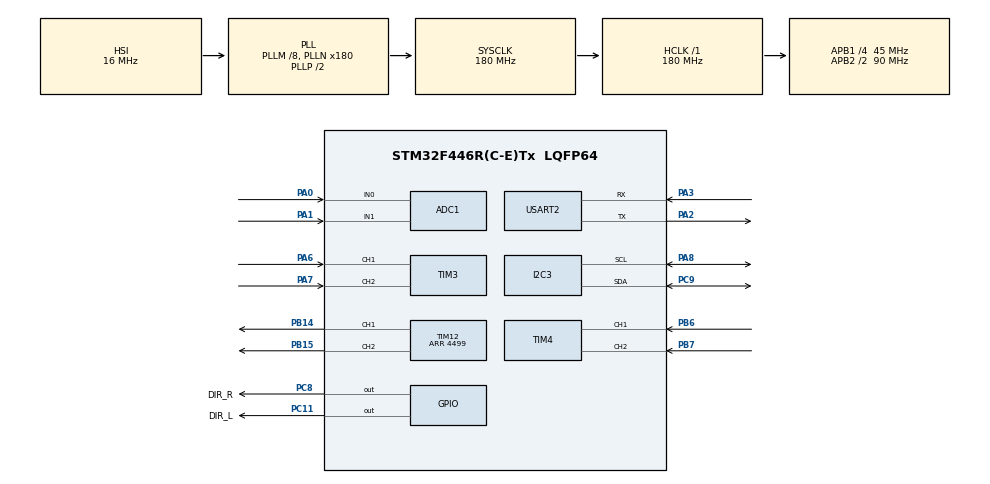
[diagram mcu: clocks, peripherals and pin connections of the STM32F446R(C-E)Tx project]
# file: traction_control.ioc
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ADC1.Channel-0\#ChannelRegularConversion=ADC_CHANNEL_1
ADC1.Channel-1\#ChannelRegularConversion=ADC_CHANNEL_0
ADC1.ContinuousConvMode=ENABLE
ADC1.DMAContinuousRequests=ENABLE
ADC1.EOCSelection=ADC_EOC_SEQ_CONV
ADC1.EnableAnalogWatchDog=false
ADC1.ExternalTrigConv=ADC_SOFTWARE_START
ADC1.NbrOfConversion=2
ADC1.NbrOfConversionFlag=1
ADC1.Rank-0\#ChannelRegularConversion=1
ADC1.Rank-1\#ChannelRegularConversion=2
ADC1.SamplingTime-0\#ChannelRegularConversion=ADC_SAMPLETIME_84CYCLES
ADC1.SamplingTime-1\#ChannelRegularConversion=ADC_SAMPLETIME_84CYCLES
ADC1.master=1
Dma.ADC1.0.Direction=DMA_PERIPH_TO_MEMORY
Dma.ADC1.0.FIFOMode=DMA_FIFOMODE_DISABLE
Dma.ADC1.0.Instance=DMA2_Stream0
Dma.ADC1.0.MemDataAlignment=DMA_MDATAALIGN_HALFWORD
Dma.ADC1.0.MemInc=DMA_MINC_ENABLE
Dma.ADC1.0.Mode=DMA_CIRCULAR
Dma.ADC1.0.PeriphDataAlignment=DMA_PDATAALIGN_HALFWORD
Dma.ADC1.0.PeriphInc=DMA_PINC_DISABLE
Dma.ADC1.0.Priority=DMA_PRIORITY_LOW
Dma.I2C3_RX.1.Direction=DMA_PERIPH_TO_MEMORY
Dma.I2C3_RX.1.FIFOMode=DMA_FIFOMODE_DISABLE
Dma.I2C3_RX.1.Instance=DMA1_Stream1
Dma.I2C3_RX.1.MemDataAlignment=DMA_MDATAALIGN_BYTE
Dma.I2C3_RX.1.MemInc=DMA_MINC_ENABLE
Dma.I2C3_RX.1.Mode=DMA_NORMAL
Dma.I2C3_RX.1.PeriphDataAlignment=DMA_PDATAALIGN_BYTE
Dma.I2C3_RX.1.PeriphInc=DMA_PINC_DISABLE
Dma.I2C3_RX.1.Priority=DMA_PRIORITY_LOW
Dma.Request0=ADC1
Dma.Request1=I2C3_RX
I2C3.I2C_Mode=I2C_Fast
Mcu.Family=STM32F4
Mcu.Name=STM32F446R(C-E)Tx
Mcu.Package=LQFP64
NVIC.DMA1_Stream1_IRQn=true\:1\:0\:true\:false\:true\:true\:true\:true
NVIC.DMA2_Stream0_IRQn=true\:0\:0\:true\:false\:true\:true\:true\:true
NVIC.I2C3_ER_IRQn=true\:1\:0\:true\:false\:true\:true\:true\:true
NVIC.I2C3_EV_IRQn=true\:1\:0\:true\:false\:true\:true\:true\:true
NVIC.PriorityGroup=NVIC_PRIORITYGROUP_4
NVIC.TIM5_IRQn=true\:0\:0\:false\:false\:true\:true\:true\:true
NVIC.TIM6_DAC_IRQn=true\:1\:0\:true\:false\:true\:true\:true\:true
NVIC.USART2_IRQn=true\:3\:0\:true\:false\:true\:true\:true\:true
PA0-WKUP.Signal=ADCx_IN0
PA1.Signal=ADCx_IN1
PA13.Mode=Trace_Asynchronous_SW
PA13.Signal=SYS_JTMS-SWDIO
PA14.Mode=Trace_Asynchronous_SW
PA14.Signal=SYS_JTCK-SWCLK
PA2.Mode=Asynchronous
PA2.Signal=USART2_TX
PA3.Mode=Asynchronous
PA3.Signal=USART2_RX
PA6.Signal=S_TIM3_CH1
PA7.Signal=S_TIM3_CH2
PA8.GPIO_Pu=GPIO_PULLUP
PA8.Mode=I2C
PA8.Signal=I2C3_SCL
PB14.Signal=S_TIM12_CH1
PB15.Signal=S_TIM12_CH2
PB3.Mode=Trace_Asynchronous_SW
PB3.Signal=SYS_JTDO-SWO
PB6.Signal=S_TIM4_CH1
PB7.Signal=S_TIM4_CH2
PC11.GPIO_Label=DIR_L
PC11.GPIO_Speed=GPIO_SPEED_FREQ_LOW
PC11.Signal=GPIO_Output
PC8.GPIO_Label=DIR_R
PC8.GPIO_Speed=GPIO_SPEED_FREQ_LOW
PC8.Signal=GPIO_Output
PC9.GPIO_Pu=GPIO_PULLUP
PC9.Mode=I2C
PC9.Signal=I2C3_SDA
ProjectManager.HeapSize=0x200
ProjectManager.StackSize=0x400
ProjectManager.TargetToolchain=STM32CubeIDE
RCC.AHBFreq_Value=180000000
RCC.APB1CLKDivider=RCC_HCLK_DIV4
RCC.APB1Freq_Value=45000000
RCC.APB1TimFreq_Value=90000000
RCC.APB2CLKDivider=RCC_HCLK_DIV2
RCC.APB2Freq_Value=90000000
RCC.APB2TimFreq_Value=180000000
RCC.CortexFreq_Value=180000000
RCC.HCLKFreq_Value=180000000
RCC.PLLM=8
RCC.PLLN=180
RCC.SYSCLKFreq_VALUE=180000000
RCC.SYSCLKSource=RCC_SYSCLKSOURCE_PLLCLK
RCC.USBFreq_Value=180000000
RCC.VCOOutputFreq_Value=360000000
SH.ADCx_IN0.0=ADC1_IN0,IN0
SH.ADCx_IN1.0=ADC1_IN1,IN1
SH.S_TIM12_CH1.0=TIM12_CH1,PWM Generation1 CH1
SH.S_TIM12_CH2.0=TIM12_CH2,PWM Generation2 CH2
SH.S_TIM3_CH1.0=TIM3_CH1,Encoder_Interface
SH.S_TIM3_CH2.0=TIM3_CH2,Encoder_Interface
SH.S_TIM4_CH1.0=TIM4_CH1,Encoder_Interface
SH.S_TIM4_CH2.0=TIM4_CH2,Encoder_Interface
TIM12.Channel-PWM\ Generation1\ CH1=TIM_CHANNEL_1
TIM12.Channel-PWM\ Generation2\ CH2=TIM_CHANNEL_2
TIM12.Period=4499
TIM3.EncoderMode=TIM_ENCODERMODE_TI12
TIM4.EncoderMode=TIM_ENCODERMODE_TI12
TIM5.Period=999
TIM5.Prescaler=89
TIM6.Period=9999
TIM6.Prescaler=89
USART2.VirtualMode=VM_ASYNC
VP_TIM12_VS_ClockSourceINT.Mode=Internal
VP_TIM5_VS_ClockSourceINT.Mode=Internal
VP_TIM6_VS_ClockSourceINT.Mode=Enable_Timer
board=custom

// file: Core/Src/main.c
/* USER CODE BEGIN Header */
/**
 ******************************************************************************
 * @file           : main.c
 * @brief          : Main program body
 * @author         : Sviluppato per architettura Hard Real-Time STM32F4
 ******************************************************************************
 */

//Ruota 2 = Sinistra
//Ruota 1 = Destra
/* USER CODE END Header */
#include "main.h"
#include "adc.h"
#include "dma.h"
#include "i2c.h"
#include "tim.h"
#include "usart.h"
#include "gpio.h"

/* USER CODE BEGIN Includes */
#include "bts7960.h"
#include "amt102.h"
#include "mpu6050.h"
#include "pi_controller.h"
#include <string.h>
#include <math.h>
#include <stdint.h>
#include <stdio.h>
/* USER CODE END Includes */

/* USER CODE BEGIN PD */
#define MOT_MAX_PWM         4499
//Configurazione Motore 1 (Destro)
#define M1_PWM_TIM           &htim12          //Timer associato a PB15
#define M1_PWM_CH            TIM_CHANNEL_2    //Canale associato a PB15

//Configurazione Motore 2 (Sinistro)
#define M2_PWM_TIM           &htim12          //Timer associato a PB14
#define M2_PWM_CH            TIM_CHANNEL_1    //Canale associato a PB14

#define ENC_PPR_X4           8192.0f
#define ENC1_TIM             &htim3
#define ENC2_TIM             &htim4

#define WHEEL_RADIUS         0.05f   //Raggio della ruota in metri
#define TRACK_WIDTH          0.40f   //Carreggiata in metri
#define SLIP_MAX             0.15f   //Slittamento massimo ammesso (15%)

//Guadagni PI Velocità (Middle Loop)
#define KP_VEL                  2.5f
#define KI_VEL                  15.0f
//Guadagni PI Corrente (Inner Loop)
#define MAX_CURRENT_LIMIT       4.0f   //Corrente massima (A)
#define KP_CURR                 0.0729f
#define KI_CURR                 697.92f
#define MAX_DUTY_CYCLE          100.0f  //Limite massimo PWM (%)
#define ADC_BUFFER_DEPTH        10

#define V_MIN_SLIP           0.1f   //Parametro per evitare singolarità (divisione per zero)
#define MAX_CURRENT_CUT      4.0f    //Taglio massimo di corrente (A) permesso al TC
#define KP_TC                2.5f
#define KI_TC                8.0f

/* USER CODE END PD */

/* USER CODE BEGIN PV */

BTS7960_Motor_t motor1;
BTS7960_Motor_t motor2;
AMT102_Encoder_t encoder1;
AMT102_Encoder_t encoder2;
mpu6050_t imu1;

//Buffer (Gestiti da DMA e Interrupt)
volatile uint8_t buffer_imu[14];
volatile uint16_t adc_buffer[ADC_BUFFER_DEPTH * 2];
volatile uint8_t rx_byte;
volatile float v_pred = 0.0f;
uint8_t payload_buffer[8];
uint8_t sync_state = 0;
uint8_t payload_idx = 0;

//Struttura Kalman filter
typedef struct {
	float v;
	float P;
	float R;
	float Q;
} Kalman_Velocity_t;

Kalman_Velocity_t kf_vel = { .v = 0.0f, .P = 1.0f, .Q = 0.005f, .R = 0.01 };

//Controllori PI
PI_Controller_t pi_vel_m1;
PI_Controller_t pi_vel_m2;
PI_Controller_t pi_curr_m1;
PI_Controller_t pi_curr_m2;
PI_Controller_t pi_tc_m1;
PI_Controller_t pi_tc_m2;

//Variabili di controllo
volatile float target_velocita_condivisa = 0.0f; //Target da UART
volatile float target_omega_condivisa = 0.0f;	//Target angolare omega da UART
volatile float target_corrente_m1 = 0.0f; //Target dal Middle Loop all'Inner Loop
volatile float target_corrente_m2 = 0.0f;
volatile float target_velocita_m1 = 0.0f;
volatile float target_velocita_m2 = 0.0f;

volatile float accel_x_condivisa = 0.0f;
volatile float accel_z_condivisa = 0.0f;
volatile float gyro_y_condivisa = 0.0f;
volatile float gyro_z_condivisa = 0.0f;

volatile float corrente_m1 = 0.0f;
volatile float corrente_m2 = 0.0f;

volatile uint8_t flag_dma_imu_pronto = 0;
volatile uint8_t flag_esegui_outer_loop = 0;
volatile uint8_t i2c_need_reset = 0;
volatile uint8_t system_safe_state = 0;          //0 = OK, 1 = AVARIA IMU
volatile uint8_t imu_timeout_counter = 0;
volatile uint8_t i2c_is_resetting = 0;
volatile float v_misurata_media = 0.0f;
volatile float duty_m1 = 0.0f;
volatile float duty_m2 = 0.0f;
volatile float err_vel_m1 = 0.0f;
volatile float err_vel_m2 = 0.0f;
volatile float err_curr_m1 = 0.0f;
volatile float err_curr_m2 = 0.0f;
volatile float sum_accel_x = 0.0f;
volatile float sum_accel_z = 0.0f;
volatile float sum_gyro_y = 0.0f;
volatile float sum_gyro_z = 0.0f;
volatile uint8_t imu_read_count = 0;
volatile float v_ruota1 = 0.0f;
volatile float v_ruota2 = 0.0f;

volatile float slip_m1 = 0.0f;
volatile float slip_m2 = 0.0f;
volatile float target_cinematico_m1 = 0.0f;
volatile float target_cinematico_m2 = 0.0f;

volatile float error_m1 = 0.0f;
volatile float error_m2 = 0.0f;

/* USER CODE END PV */

void SystemClock_Config(void);
/* USER CODE BEGIN PFP */
static uint8_t is_first_run = 1;
void CurrentSensing_Update(float *corrente_m1_out, float *corrente_m2_out);
void StateEstimation_Update(void);
void TractionControl_Apply(float v_telaio, float gyro_z, float *i_cut_m1,
		float *i_cut_m2);
void System_Enter_SafeMode(void);
/* USER CODE END PFP */

int main(void) {

	/* MCU Configuration--------------------------------------------------------*/

	/* Reset of all peripherals, Initializes the Flash interface and the Systick. */
	HAL_Init();

	/* Configure the system clock */
	SystemClock_Config();

	/* Initialize all configured peripherals */
	MX_GPIO_Init();
	MX_DMA_Init();
	MX_TIM3_Init();
	MX_TIM4_Init();
	MX_ADC1_Init();
	MX_TIM6_Init();
	MX_TIM12_Init();
	MX_I2C3_Init();
	MX_TIM5_Init();
	MX_USART2_UART_Init();
	/* USER CODE BEGIN 2 */
	//Setup motori
	motor1.htim = M1_PWM_TIM;
	motor1.pwm_channel = M1_PWM_CH;
	motor1.dir_port = DIR_L_GPIO_Port;
	motor1.dir_pin = DIR_L_Pin;
	motor1.max_pwm_value = MOT_MAX_PWM;

	motor2.htim = M2_PWM_TIM;
	motor2.pwm_channel = M2_PWM_CH;
	motor2.dir_port = DIR_R_GPIO_Port;
	motor2.dir_pin = DIR_R_Pin;
	motor2.max_pwm_value = MOT_MAX_PWM;

	BTS7960_Init(&motor1);
	BTS7960_Init(&motor2);

	//Setup encoder
	encoder1.htim = ENC1_TIM;
	encoder1.ppr_x4 = ENC_PPR_X4;
	AMT102_Init(&encoder1);

	encoder2.htim = ENC2_TIM;
	encoder2.ppr_x4 = ENC_PPR_X4;
	AMT102_Init(&encoder2);
	//Inizializzazione PI velocità
	PI_Init(&pi_vel_m1, KP_VEL, KI_VEL, 0.010f, MAX_CURRENT_LIMIT);
	PI_Init(&pi_vel_m2, KP_VEL, KI_VEL, 0.010f, MAX_CURRENT_LIMIT);

	//Inizializzazione PI corrente
	PI_Init(&pi_curr_m1, KP_CURR, KI_CURR, 0.001f, MAX_DUTY_CYCLE);
	PI_Init(&pi_curr_m2, KP_CURR, KI_CURR, 0.001f, MAX_DUTY_CYCLE);

	PI_Init(&pi_tc_m1, KP_TC, KI_TC, 0.010f, MAX_CURRENT_CUT);
	PI_Init(&pi_tc_m2, KP_TC, KI_TC, 0.010f, MAX_CURRENT_CUT);

	//Setup IMU
	if (imu_init(&imu1, &hi2c3, IMU_ADDR) != HAL_OK) {
		Error_Handler();
	}
	imu_calibrate(&imu1);

	//Avvio periferiche e DMA
	HAL_ADC_Start_DMA(&hadc1, (uint32_t*) adc_buffer, ADC_BUFFER_DEPTH * 2);
	HAL_Delay(20);
	HAL_TIM_Base_Start_IT(&htim5);
	__HAL_TIM_SET_COUNTER(&htim5, 0);

	HAL_TIM_Base_Start_IT(&htim6);
	__HAL_TIM_SET_COUNTER(&htim6, 0);

	HAL_UART_Receive_IT(&huart2, (uint8_t*) &rx_byte, 1);

	/* USER CODE END 2 */

	/* Infinite loop */
	/* USER CODE BEGIN WHILE */

	while (1) {
		//Gestione I2C
		if (i2c_need_reset == 1) {
			i2c_is_resetting = 1;
			HAL_I2C_DeInit(&hi2c3);
			MX_I2C3_Init();
			imu_init(&imu1, &hi2c3, IMU_ADDR);
			i2c_need_reset = 0;
			i2c_is_resetting = 0;
		}

		/* USER CODE END WHILE */

	}
}

void SystemClock_Config(void) {
	RCC_OscInitTypeDef RCC_OscInitStruct = { 0 };
	RCC_ClkInitTypeDef RCC_ClkInitStruct = { 0 };

	/** Configure the main internal regulator output voltage
	 */
	__HAL_RCC_PWR_CLK_ENABLE();
	__HAL_PWR_VOLTAGESCALING_CONFIG(PWR_REGULATOR_VOLTAGE_SCALE1);

	/** Initializes the RCC Oscillators according to the specified parameters
	 * in the RCC_OscInitTypeDef structure.
	 */
	RCC_OscInitStruct.OscillatorType = RCC_OSCILLATORTYPE_HSI;
	RCC_OscInitStruct.HSIState = RCC_HSI_ON;
	RCC_OscInitStruct.HSICalibrationValue = RCC_HSICALIBRATION_DEFAULT;
	RCC_OscInitStruct.PLL.PLLState = RCC_PLL_ON;
	RCC_OscInitStruct.PLL.PLLSource = RCC_PLLSOURCE_HSI;
	RCC_OscInitStruct.PLL.PLLM = 8;
	RCC_OscInitStruct.PLL.PLLN = 180;
	RCC_OscInitStruct.PLL.PLLP = RCC_PLLP_DIV2;
	RCC_OscInitStruct.PLL.PLLQ = 2;
	RCC_OscInitStruct.PLL.PLLR = 2;
	if (HAL_RCC_OscConfig(&RCC_OscInitStruct) != HAL_OK) {
		Error_Handler();
	}

	/** Activate the Over-Drive mode
	 */
	if (HAL_PWREx_EnableOverDrive() != HAL_OK) {
		Error_Handler();
	}

	/** Initializes the CPU, AHB and APB buses clocks
	 */
	RCC_ClkInitStruct.ClockType = RCC_CLOCKTYPE_HCLK | RCC_CLOCKTYPE_SYSCLK
			| RCC_CLOCKTYPE_PCLK1 | RCC_CLOCKTYPE_PCLK2;
	RCC_ClkInitStruct.SYSCLKSource = RCC_SYSCLKSOURCE_PLLCLK;
	RCC_ClkInitStruct.AHBCLKDivider = RCC_SYSCLK_DIV1;
	RCC_ClkInitStruct.APB1CLKDivider = RCC_HCLK_DIV4;
	RCC_ClkInitStruct.APB2CLKDivider = RCC_HCLK_DIV2;

	if (HAL_RCC_ClockConfig(&RCC_ClkInitStruct, FLASH_LATENCY_5) != HAL_OK) {
		Error_Handler();
	}
}

/* USER CODE BEGIN 4 */

//Callback ricezione dati UART
void HAL_UART_RxCpltCallback(UART_HandleTypeDef *huart) {
	if (huart->Instance == USART2) {
		switch (sync_state) {
		case 0: //Attesa header 1 (0xAA)
			if (rx_byte == 0xAA)
				sync_state = 1;
			break;
		case 1: //Attesa header 2 (0x55)
			if (rx_byte == 0x55) {
				sync_state = 2;
				payload_idx = 0;
			} else if (rx_byte != 0xAA) {
				sync_state = 0;
			}
			break;
		case 2: //Lettura payload (8 byte)
			payload_buffer[payload_idx++] = rx_byte;
			if (payload_idx >= 8)
				sync_state = 3;
			break;
		case 3: //Lettura checksum e validazione
		{
			uint8_t calc_chk = 0;
			for (int i = 0; i < 8; i++) {
				calc_chk ^= payload_buffer[i];
			}
			//Applica i target solo se il pacchetto è integro
			if (calc_chk == rx_byte) {
				float nuova_velocita, nuova_omega;
				memcpy(&nuova_velocita, &payload_buffer[0], 4);
				memcpy(&nuova_omega, &payload_buffer[4], 4);
				target_velocita_condivisa = nuova_velocita;
				target_omega_condivisa = nuova_omega;
			}
			sync_state = 0; //Attesa prossimo pacchetto
		}
			break;
		}
		//Riattiva l'ascolto per il byte successivo
		HAL_UART_Receive_IT(&huart2, (uint8_t*) &rx_byte, 1);
	}
}

//Callback ricezione dati I2C
void HAL_I2C_MemRxCpltCallback(I2C_HandleTypeDef *hi2c) {
	if (hi2c->Instance == I2C3) {
		int16_t raw_accel_x = (int16_t) (buffer_imu[0] << 8 | buffer_imu[1]);
		int16_t raw_accel_z = (int16_t) (buffer_imu[4] << 8 | buffer_imu[5]);
		int16_t raw_gyro_y = (int16_t) (buffer_imu[10] << 8 | buffer_imu[11]);
		int16_t raw_gyro_z = (int16_t) (buffer_imu[12] << 8 | buffer_imu[13]);
		//Conversione in m/s^2 e rad/s
		float accel_x_depurata = ((float) (raw_accel_x - imu1.imu_bias.accel_x)
				/ 16384.0f) * 9.81f;
		float accel_z_depurata = ((float) (raw_accel_z - imu1.imu_bias.accel_z)
				/ 16384.0f) * 9.81f;
		float gyro_y_depurato = ((float) (raw_gyro_y - imu1.imu_bias.gyro_y)
				/ 131.0f) * (3.14159265f / 180.0f);
		float gyro_z_depurato = ((float) (raw_gyro_z - imu1.imu_bias.gyro_z)
				/ 131.0f) * (3.14159265f / 180.0f);

		sum_accel_x += accel_x_depurata;
		sum_accel_z += accel_z_depurata;
		sum_gyro_y += gyro_y_depurato;
		sum_gyro_z += gyro_z_depurato;
		imu_read_count++;
		flag_dma_imu_pronto = 1;
	}
}

void CurrentSensing_Update(float *corrente_m1_out, float *corrente_m2_out) {
	uint32_t somma_m1 = 0;
	uint32_t somma_m2 = 0;

	for (uint16_t i = 0; i < ADC_BUFFER_DEPTH; i++) {
		somma_m1 += adc_buffer[i * 2];
		somma_m2 += adc_buffer[(i * 2) + 1];
	}

	float raw_adc_m1 = (float) somma_m1 / (float) ADC_BUFFER_DEPTH;
	float raw_adc_m2 = (float) somma_m2 / (float) ADC_BUFFER_DEPTH;

	float magnitudine_m1 = ((raw_adc_m1 / 4095.0f) * 3.3f) * 10.0f;
	float magnitudine_m2 = ((raw_adc_m2 / 4095.0f) * 3.3f) * 10.0f;

	*corrente_m1_out = (duty_m1 < 0.0f) ? -magnitudine_m1 : magnitudine_m1;
	*corrente_m2_out = (duty_m2 < 0.0f) ? -magnitudine_m2 : magnitudine_m2;
}

void StateEstimation_Update(void) {
	//Prelievo dati e gestione concorrenza
	__disable_irq();
	uint8_t count = imu_read_count;
	float ax_sum = sum_accel_x;
	float az_sum = sum_accel_z;
	float gy_sum = sum_gyro_y;
	float gz_sum = sum_gyro_z;
	//Azzeramento accumulatori per la prossima finestra da 10ms
	sum_accel_x = 0.0f;
	sum_accel_z = 0.0f;
	sum_gyro_y = 0.0f;
	sum_gyro_z = 0.0f;
	imu_read_count = 0;
	__enable_irq();
	//Calcolo media e Kalman
	if (count > 0) {
		flag_dma_imu_pronto = 0;
		//Calcolo della media
		accel_x_condivisa = ax_sum / count;
		accel_z_condivisa = az_sum / count;
		gyro_y_condivisa = gy_sum / count;
		gyro_z_condivisa = gz_sum / count;
		//Predizione e correzione Kalman con il segnale mediato
		float v_pred = kf_vel.v + accel_x_condivisa * 0.010f;
		float P_pred = kf_vel.P + kf_vel.Q;
		float K = P_pred / (P_pred + kf_vel.R);
		kf_vel.v = v_pred + K * (v_misurata_media - v_pred);
		kf_vel.P = (1.0f - K) * P_pred;
	} else {
		//Nessun dato letto in questa finestra (accelerazione nulla)
		float v_pred = kf_vel.v;
		float P_pred = kf_vel.P + kf_vel.Q;
		float K = P_pred / (P_pred + kf_vel.R);
		kf_vel.v = v_pred + K * (v_misurata_media - v_pred);
		kf_vel.P = (1.0f - K) * P_pred;
	}
}

void TractionControl_Apply(float v_telaio, float gyro_z, float *i_cut_m1,
		float *i_cut_m2) {
	float v_telaio_m1 = v_telaio - (gyro_z * TRACK_WIDTH * 0.5f);
	float v_telaio_m2 = v_telaio + (gyro_z * TRACK_WIDTH * 0.5f);

	//Elaborazione ruota destra
	float max_vel_m1 = fmaxf(fabsf(v_telaio_m1), fabsf(v_ruota1));
	float den_m1 = fmaxf(max_vel_m1, V_MIN_SLIP);
	float slip_ratio_m1 = fabsf(v_ruota1 - v_telaio_m1) / den_m1;

	uint8_t in_deadband_m1 = (fabsf(target_cinematico_m1) < 0.05f)
			&& (fabsf(v_telaio_m1) < 0.05f);
	if (slip_ratio_m1 == 0.0f || in_deadband_m1) {
		if (pi_tc_m1.integral_error > 0.0f) {
			pi_tc_m1.integral_error = 0.0f;
		}
		slip_ratio_m1 = 0.0f;
	}
	//Errore positivo = stiamo slittando oltre il limite (attivazione flag)
	error_m1 = slip_ratio_m1 - SLIP_MAX;
	slip_m1 = (error_m1 > 0.0f) ? 1.0f : 0.0f;

	//Hold dell'integratore (blocca se non slittiamo e la memoria è vuota)
	uint8_t hold_m1 =
			(error_m1 < 0.0f && pi_tc_m1.integral_error <= 0.0f) ? 1 : 0;

	//Calcolo taglio di corrente
	float cut_1 = PI_Compute(&pi_tc_m1, 0.0f, -error_m1, hold_m1);
	*i_cut_m1 = (cut_1 < 0.0f) ? 0.0f : cut_1;

	//Elaborazione ruota sinistra
	float max_vel_m2 = fmaxf(fabsf(v_telaio_m2), fabsf(v_ruota2));
	float den_m2 = fmaxf(max_vel_m2, V_MIN_SLIP);
	float slip_ratio_m2 = fabsf(v_ruota2 - v_telaio_m2) / den_m2;

	uint8_t in_deadband_m2 = (fabsf(target_cinematico_m2) < 0.05f)
			&& (fabsf(v_telaio_m2) < 0.05f);
	if (slip_ratio_m2 == 0.0f || in_deadband_m2) {
		if (pi_tc_m2.integral_error > 0.0f) {
			pi_tc_m2.integral_error = 0.0f;
		}
		slip_ratio_m2 = 0.0f;
	}

	error_m2 = slip_ratio_m2 - SLIP_MAX;
	slip_m2 = (error_m2 > 0.0f) ? 1.0f : 0.0f;

	uint8_t hold_m2 =
			(error_m2 < 0.0f && pi_tc_m2.integral_error <= 0.0f) ? 1 : 0;

	float cut_2 = PI_Compute(&pi_tc_m2, 0.0f, -error_m2, hold_m2);
	*i_cut_m2 = (cut_2 < 0.0f) ? 0.0f : cut_2;
}

void System_Enter_SafeMode(void) {
	target_corrente_m1 = 0.0f;
	target_corrente_m2 = 0.0f;
	target_velocita_m1 = 0.0f;
	target_velocita_m2 = 0.0f;
	kf_vel.v = 0.0f;
	is_first_run = 1;
	//Reset degli integratori PI
	PI_Reset(&pi_vel_m1);
	PI_Reset(&pi_vel_m2);
	PI_Reset(&pi_curr_m1);
	PI_Reset(&pi_curr_m2);
	PI_Reset(&pi_tc_m1);
	PI_Reset(&pi_tc_m2);
	slip_m1 = 0.0f;
	slip_m2 = 0.0f;
	__disable_irq();
	sum_accel_x = 0.0f;
	sum_accel_z = 0.0f;
	sum_gyro_y = 0.0f;
	sum_gyro_z = 0.0f;
	imu_read_count = 0;
	__enable_irq();
}

//Callback timer
void HAL_TIM_PeriodElapsedCallback(TIM_HandleTypeDef *htim) {

	//Controllo corrente a 1000 Hz
	if (htim->Instance == TIM5) {

		//Lettura sensori
		CurrentSensing_Update((float*) &corrente_m1, (float*) &corrente_m2);

		err_curr_m1 = target_corrente_m1 - corrente_m1;
		err_curr_m2 = target_corrente_m2 - corrente_m2;

		//Calcolo Duty Cycle tramite i PI
		duty_m1 = PI_Compute(&pi_curr_m1, target_corrente_m1, corrente_m1, 0);
		duty_m2 = PI_Compute(&pi_curr_m2, target_corrente_m2, corrente_m2, 0);

		//Attuazione hardware
		BTS7960_SetDutyCycle(&motor1, duty_m1);
		BTS7960_SetDutyCycle(&motor2, duty_m2);

		//Gestione IMU in DMA
		if (i2c_is_resetting == 0) {
			HAL_I2C_Mem_Read_DMA(&hi2c3, IMU_ADDR, ACCEL_XOUT_H_REG,
			I2C_MEMADD_SIZE_8BIT, buffer_imu, 14);
		}
	}

	//Controllo velocità a 100 Hz
	else if (htim->Instance == TIM6) {
		if (flag_dma_imu_pronto == 1) {
			imu_timeout_counter = 0;
			system_safe_state = 0;
		} else {
			imu_timeout_counter++;
			if (imu_timeout_counter > 5) {
				system_safe_state = 1;
				i2c_need_reset = 1;
			}
		}
		//Aggiornamento encoder
		AMT102_Update(&encoder1, 0.010f);
		AMT102_Update(&encoder2, 0.010f);
		v_ruota1 = -1.0f * encoder1.velocity_rad_s * WHEEL_RADIUS;
		v_ruota2 = encoder2.velocity_rad_s * WHEEL_RADIUS;
		v_misurata_media = (v_ruota1 + v_ruota2) / 2.0f;

		//Inizializzazione stato al primo avvio
		if (is_first_run == 1) {
			kf_vel.v = (v_ruota1 + v_ruota2) / 2.0f;
			is_first_run = 0;
		}

		if (system_safe_state == 0) {
			target_cinematico_m1 = target_velocita_condivisa
					- (target_omega_condivisa * TRACK_WIDTH * 0.5f);
			target_cinematico_m2 = target_velocita_condivisa
					+ (target_omega_condivisa * TRACK_WIDTH * 0.5f);
			target_velocita_m1 = target_cinematico_m1;
			target_velocita_m2 = target_cinematico_m2;

			//Stima di stato
			StateEstimation_Update();

			//Traction Control
			float i_cut_m1 = 0.0f;
			float i_cut_m2 = 0.0f;
			TractionControl_Apply(kf_vel.v, gyro_z_condivisa, &i_cut_m1,
					&i_cut_m2);

			err_vel_m1 = target_velocita_m1 - v_ruota1;
			err_vel_m2 = target_velocita_m2 - v_ruota2;

			float deadband_threshold = 0.05f;

			if (target_velocita_condivisa == 0.0f
					&& target_omega_condivisa == 0.0f
					&& fabsf(v_ruota1) < deadband_threshold
					&& fabsf(v_ruota2) < deadband_threshold) {

				target_corrente_m1 = 0.0f;
				target_corrente_m2 = 0.0f;
				PI_Reset(&pi_vel_m1);
				PI_Reset(&pi_vel_m2);
			} else {
				//Calcolo corrente nominale
				float nominal_curr_m1 = PI_Compute(&pi_vel_m1,
						target_velocita_m1, v_ruota1, (i_cut_m1 > 0.01f));
				float nominal_curr_m2 = PI_Compute(&pi_vel_m2,
						target_velocita_m2, v_ruota2, (i_cut_m2 > 0.01f));
				//Sottrazione del taglio in base al verso di marcia
				if (nominal_curr_m1 > 0.0f) {
					target_corrente_m1 = fmaxf(0.0f,
							nominal_curr_m1 - i_cut_m1);
				} else {
					target_corrente_m1 = fminf(0.0f,
							nominal_curr_m1 + i_cut_m1);
				}

				if (nominal_curr_m2 > 0.0f) {
					target_corrente_m2 = fmaxf(0.0f,
							nominal_curr_m2 - i_cut_m2);
				} else {
					target_corrente_m2 = fminf(0.0f,
							nominal_curr_m2 + i_cut_m2);
				}
			}

		} else {
			System_Enter_SafeMode();
		}
	}
}
/* USER CODE END 4 */

void Error_Handler(void) {
	__disable_irq();
	while (1) {
	}
}
